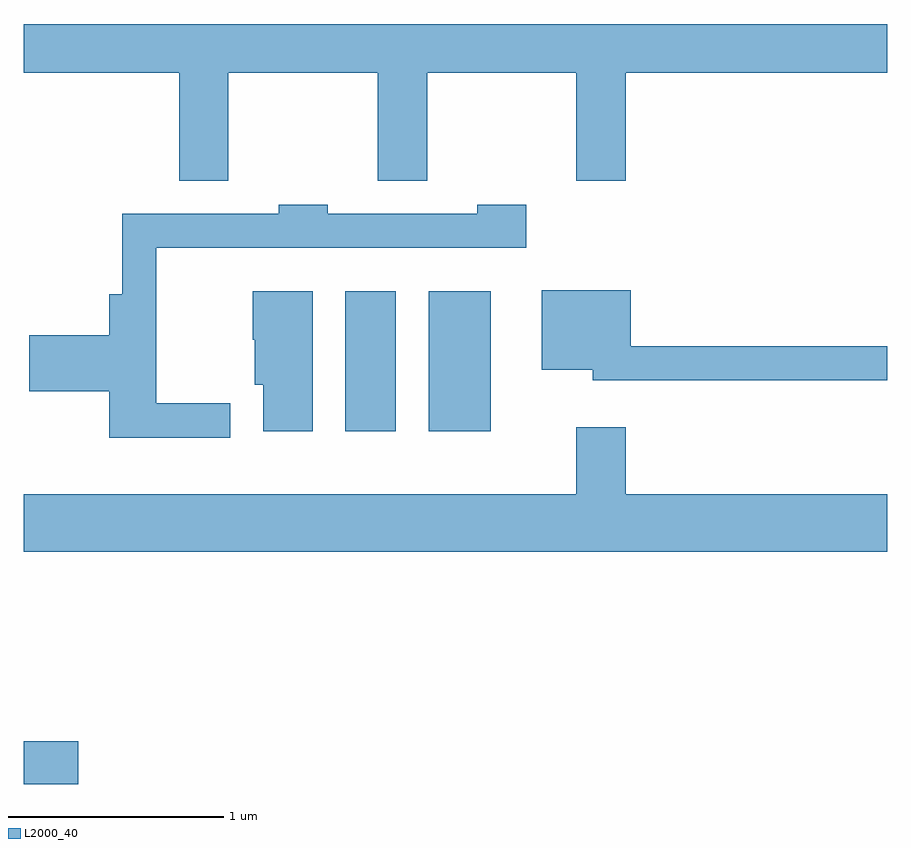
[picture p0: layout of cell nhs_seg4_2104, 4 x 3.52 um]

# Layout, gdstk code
import gdstk
lib = gdstk.Library(unit=1e-6, precision=1e-09)
def R(c, l, rs):  # rectangles x0, y0, x1, y1
    for r in rs: c.add(gdstk.rectangle(r[:2], r[2:], *l))
def P(c, l, *ps):  # polygons
    for p in ps: c.add(gdstk.Polygon(p, *l))
L2000_40 = (2000, 40)

nhs_seg4_2104 = lib.new_cell('nhs_seg4_2104')
R(nhs_seg4_2104, L2000_40, [(245.611,1382.461,245.864,1382.659), (247.101,1384.096,247.334,1384.744), (247.486,1384.096,247.774,1384.744)])
P(nhs_seg4_2104, L2000_40, [(246.559,1385.756),(247.251,1385.756),(247.251,1385.256),(247.479,1385.256),(247.479,1385.756),(248.171,1385.756),(248.171,1385.256),(248.399,1385.256),(248.399,1385.756),(249.611,1385.756),(249.611,1385.982),(245.611,1385.982),(245.611,1385.756),(246.331,1385.756),(246.331,1385.256),(246.559,1385.256)],
  [(246.568,1384.224),(246.224,1384.224),(246.224,1384.946),(247.939,1384.946),(247.939,1385.144),(247.711,1385.144),(247.711,1385.104),(247.019,1385.104),(247.019,1385.144),(246.791,1385.144),(246.791,1385.104),(246.066,1385.104),(246.066,1384.729),(246.006,1384.729),(246.006,1384.539),(245.636,1384.539),(245.636,1384.281),(246.006,1384.281),(246.006,1384.066),(246.568,1384.066)],
  [(249.611,1384.489),(248.424,1384.489),(248.424,1384.749),(248.011,1384.749),(248.011,1384.381),(248.246,1384.381),(248.246,1384.331),(249.611,1384.331)],
  [(246.949,1384.744),(246.671,1384.744),(246.671,1384.52),(246.681,1384.52),(246.681,1384.311),(246.721,1384.311),(246.721,1384.096),(246.949,1384.096)],
  [(249.611,1383.804),(248.399,1383.804),(248.399,1384.114),(248.171,1384.114),(248.171,1383.804),(245.611,1383.804),(245.611,1383.536),(249.611,1383.536)])

lib.write_gds('nhs_seg4_2104.gds')
